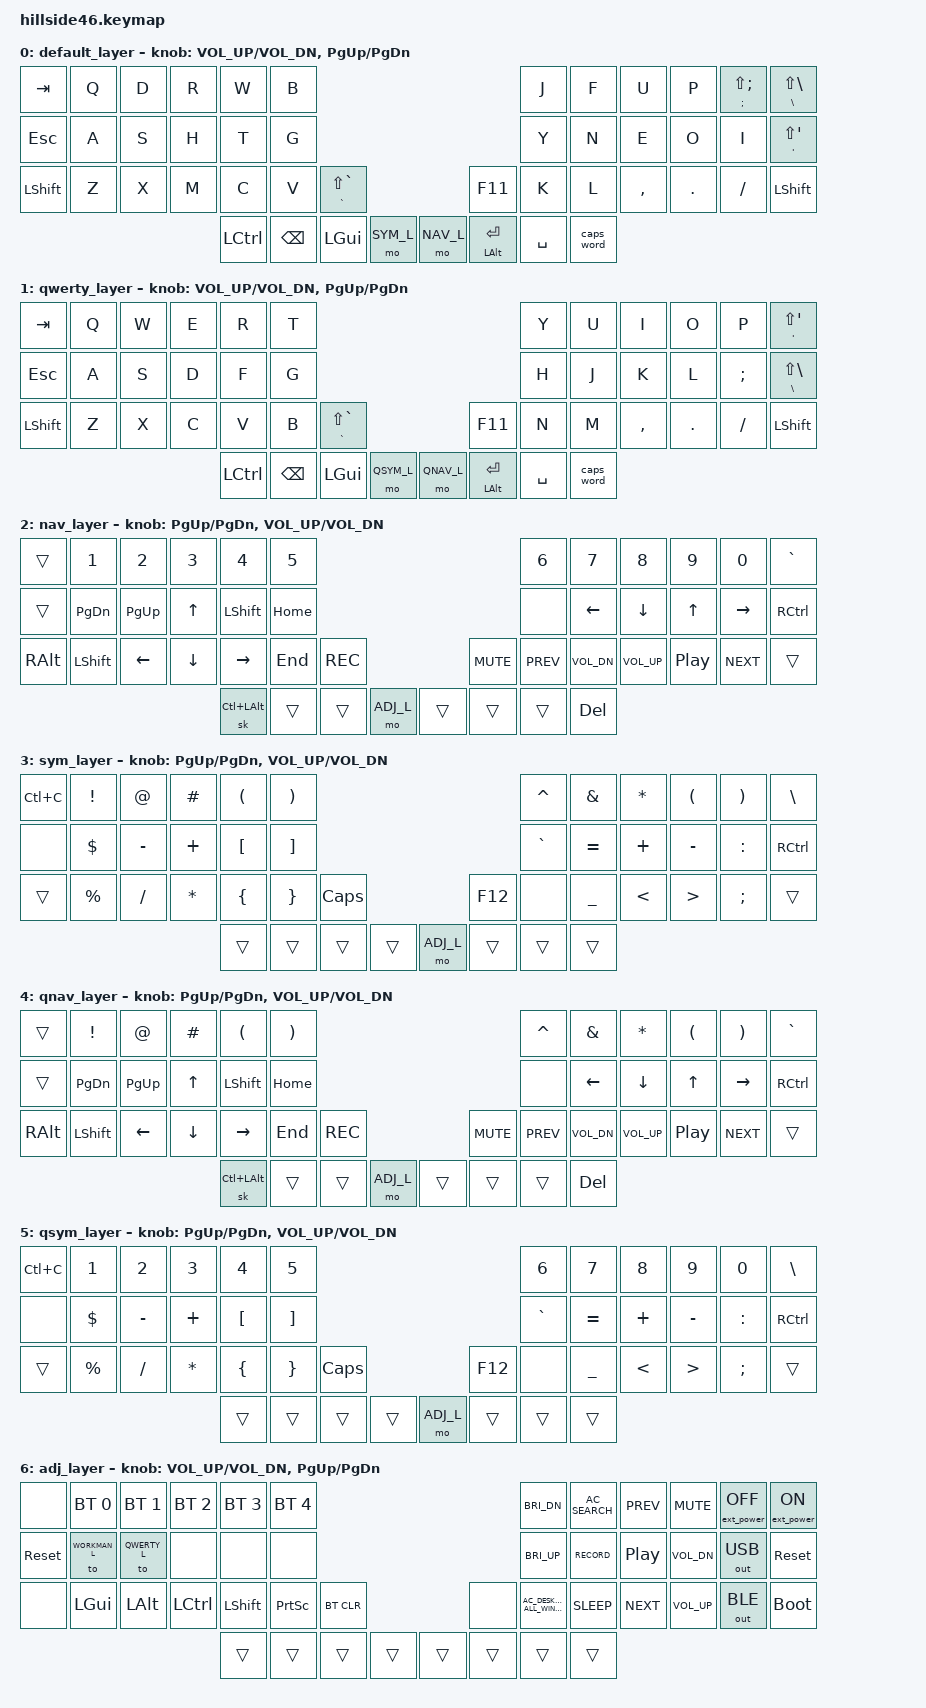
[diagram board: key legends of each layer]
/*
 * Copyright (c) 2021-2022 The ZMK Contributors
 *
 * SPDX-License-Identifier: MIT
 */

#include <behaviors.dtsi>
#include <dt-bindings/zmk/bt.h>
#include <dt-bindings/zmk/ext_power.h>
#include <dt-bindings/zmk/keys.h>
#include <dt-bindings/zmk/outputs.h>

#define WORKMAN_L 0
#define QWERTY_L 1
#define NAV_L    2
#define SYM_L    3
#define QNAV_L    4
#define QSYM_L    5
#define ADJ_L    6

#define Undo   LC(Z)
#define Cut    LC(X)
#define Copy   LC(C)
#define Paste  LC(V)
#define Redo   LC(Y)


/ {
        keymap {
                compatible = "zmk,keymap";

                default_layer {
                        bindings = <
&kp TAB   &kp Q &kp D &kp R &kp W     &kp B                                                   &kp J     &kp F    &kp  U       &kp  P     &mt SEMI LS(SEMI) &mt BSLH LS(BSLH)
&kp ESC   &kp A &kp S &kp H &kp T     &kp G                                                   &kp Y     &kp N    &kp  E       &kp O     &kp I             &mt SQT LS(SQT)
&kp LSHFT &kp Z &kp X &kp M &kp C     &kp V          &mt GRAVE LS(GRAVE)                    &kp F11   &kp K     &kp L    &kp COMMA &kp DOT &kp SLASH         &kp LSHFT
                            &kp LCTRL &kp BSPC &kp LGUI &mo SYM_L   &mo NAV_L &mt LALT ENTER &kp SPACE &caps_word
                        >;

                        sensor-bindings = <&inc_dec_kp C_VOL_UP C_VOL_DN &inc_dec_kp PG_UP PG_DN>;
                };

                qwerty_layer {
                        bindings = <
&kp TAB   &kp Q &kp W &kp E &kp R     &kp T                                                   &kp Y     &kp U    &kp  I       &kp O     &kp P    &mt SQT LS(SQT)
&kp ESC   &kp A &kp S &kp D &kp F     &kp G                                                   &kp H     &kp J    &kp  K       &kp L     &kp SEMI &mt BSLH LS(BSLH)
&kp LSHFT &kp Z &kp X &kp C &kp V     &kp B          &mt GRAVE LS(GRAVE)                    &kp F11   &kp N     &kp M    &kp COMMA &kp DOT &kp SLASH         &kp LSHFT
                            &kp LCTRL &kp BSPC &kp LGUI &mo QSYM_L   &mo QNAV_L &mt LALT ENTER &kp SPACE &caps_word
                        >;

                        sensor-bindings = <&inc_dec_kp C_VOL_UP C_VOL_DN &inc_dec_kp PG_UP PG_DN>;
                };

                nav_layer {
                      bindings = <
&trans   &kp N1    &kp N2    &kp N3   &kp N4     &kp N5                                         &kp N6     &kp N7       &kp N8       &kp N9   &kp N0     &kp GRAVE
&trans   &kp PG_DN &kp PG_UP &kp UP   &kp LSHFT  &kp HOME                                       &none      &kp LEFT     &kp DOWN     &kp UP   &kp RIGHT  &kp RCTRL
&kp RALT &kp LSHFT &kp LEFT  &kp DOWN &kp RIGHT  &kp END  &kp C_REC                     &kp C_MUTE &kp C_PREV &kp C_VOL_DN &kp C_VOL_UP &kp C_PP &kp C_NEXT &trans
                                      &sk LC(LALT)     &trans   &trans &mo ADJ_L    &trans &trans     &trans     &kp DEL
                        >;

                        sensor-bindings = <&inc_dec_kp PG_UP PG_DN &inc_dec_kp C_VOL_UP C_VOL_DN>;
                };

                sym_layer {
                        bindings = <
&kp Copy &kp EXCL    &kp AT    &kp HASH  &kp LPAR &kp RPAR                                       &kp CARET &kp AMPS &kp ASTRK &kp LPAR  &kp RPAR  &kp BSLH
&none    &kp DOLLAR  &kp MINUS &kp PLUS  &kp LBKT &kp RBKT                                       &kp GRAVE     &kp EQUAL &kp PLUS  &kp MINUS &kp COLON &kp RCTRL
&trans   &kp PERCENT &kp SLASH &kp ASTRK &kp LBRC &kp RBRC &kp CAPS                      &kp F12 &none     &kp UNDER &kp LT     &kp GT &kp SEMI     &trans
                                         &trans   &trans   &trans   &trans     &mo ADJ_L &trans  &trans    &trans
                        >;

                        sensor-bindings = <&inc_dec_kp PG_UP PG_DN &inc_dec_kp C_VOL_UP C_VOL_DN>;
                };

                qnav_layer {
                      bindings = <
&trans &kp EXCL    &kp AT    &kp HASH  &kp LPAR &kp RPAR                                       &kp CARET &kp AMPS &kp ASTRK &kp LPAR  &kp RPAR  &kp GRAVE
&trans   &kp PG_DN &kp PG_UP &kp UP   &kp LSHFT  &kp HOME                                       &none      &kp LEFT     &kp DOWN     &kp UP   &kp RIGHT  &kp RCTRL
&kp RALT &kp LSHFT &kp LEFT  &kp DOWN &kp RIGHT  &kp END  &kp C_REC                     &kp C_MUTE &kp C_PREV &kp C_VOL_DN &kp C_VOL_UP &kp C_PP &kp C_NEXT &trans
                                      &sk LC(LALT)     &trans   &trans &mo ADJ_L    &trans &trans     &trans     &kp DEL
                        >;

                        sensor-bindings = <&inc_dec_kp PG_UP PG_DN &inc_dec_kp C_VOL_UP C_VOL_DN>;
                };

                qsym_layer {
                        bindings = <
&kp Copy   &kp N1    &kp N2    &kp N3   &kp N4     &kp N5                                         &kp N6     &kp N7       &kp N8       &kp N9   &kp N0     &kp BSLH
&none    &kp DOLLAR  &kp MINUS &kp PLUS  &kp LBKT &kp RBKT                                       &kp GRAVE     &kp EQUAL &kp PLUS  &kp MINUS &kp COLON &kp RCTRL
&trans   &kp PERCENT &kp SLASH &kp ASTRK &kp LBRC &kp RBRC &kp CAPS                      &kp F12 &none     &kp UNDER &kp LT     &kp GT &kp SEMI     &trans
                                         &trans   &trans   &trans   &trans     &mo ADJ_L &trans  &trans    &trans
                        >;

                        sensor-bindings = <&inc_dec_kp PG_UP PG_DN &inc_dec_kp C_VOL_UP C_VOL_DN>;
                };

                adj_layer {
                        bindings = <
&none      &bt BT_SEL 0  &bt BT_SEL 1 &bt BT_SEL 2 &bt BT_SEL 3 &bt BT_SEL 4                                       &kp C_BRI_DN             &kp C_AC_SEARCH  &kp C_PREV &kp C_MUTE   &ext_power EP_OFF &ext_power EP_ON
&sys_reset &to WORKMAN_L &to QWERTY_L &none        &none        &none                                              &kp C_BRI_UP             &kp C_RECORD     &kp C_PP   &kp C_VOL_DN &out OUT_USB      &sys_reset
&none      &kp LGUI      &kp LALT     &kp LCTRL    &kp LSHFT    &kp PRINTSCREEN &bt BT_CLR                  &none  &kp C_AC_DESKTOP_SHOW_ALL_WINDOWS &kp C_SLEEP &kp C_NEXT &kp C_VOL_UP &out OUT_BLE      &bootloader
                                                   &trans       &trans          &trans     &trans    &trans &trans &trans &trans
                        >;

                        sensor-bindings = <&inc_dec_kp C_VOL_UP C_VOL_DN &inc_dec_kp PG_UP PG_DN>;
                };
        };
};
